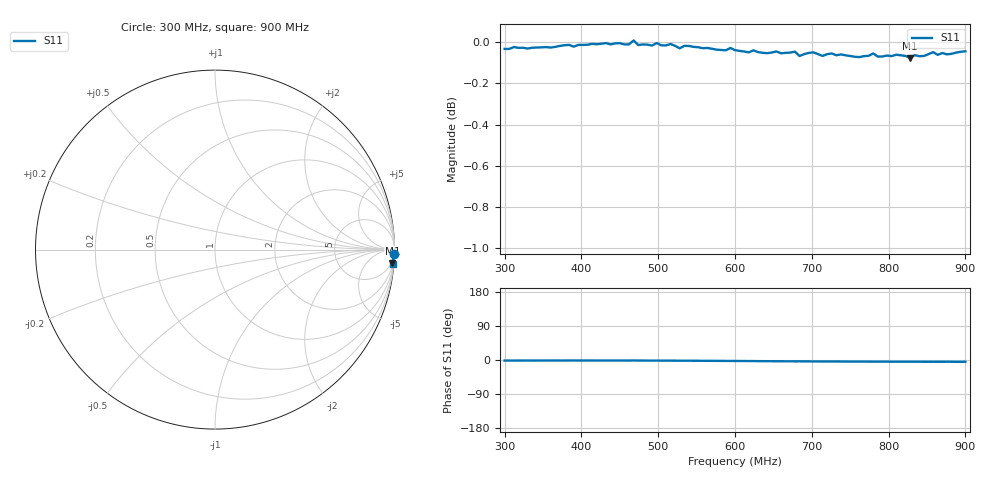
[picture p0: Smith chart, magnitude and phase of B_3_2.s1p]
# HZ S RI R 50
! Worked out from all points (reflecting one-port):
!   101 points, 300 MHz to 900 MHz, reference 50 ohm
!   lowest |S11| = -0.1 dB at 828 MHz (marker M1), VSWR 227.10, Z = 144 - j1.27e+03 ohm
!   phase of S11 starts at -1 deg and turns -3 deg over the sweep
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3e8  0.9959 -0.0252
3.12e8  0.997 -0.0263
3.3e8  0.9962 -0.0233
3.36e8  0.9966 -0.025
3.78e8  0.998 -0.0234
3.9e8  0.9973 -0.022
4.5e8  0.9992 -0.0242
4.62e8  0.9985 -0.0255
4.68e8  1.001 -0.0216
4.74e8  0.9981 -0.0249
4.86e8  0.9983 -0.0273
5.16e8  0.9986 -0.0298
5.28e8  0.9961 -0.0314
5.4e8  0.9974 -0.0332
6e8  0.9946 -0.0442
6.78e8  0.9928 -0.0615
6.84e8  0.9905 -0.0609
7.02e8  0.9922 -0.0658
7.14e8  0.9901 -0.0666
7.5e8  0.9898 -0.0711
7.8e8  0.9909 -0.0749
7.86e8  0.9892 -0.0746
8.28e8  0.9882 -0.077
8.58e8  0.9911 -0.0817
8.7e8  0.9907 -0.081
8.76e8  0.9901 -0.0786
8.88e8  0.9907 -0.0839
9e8  0.9916 -0.0811
